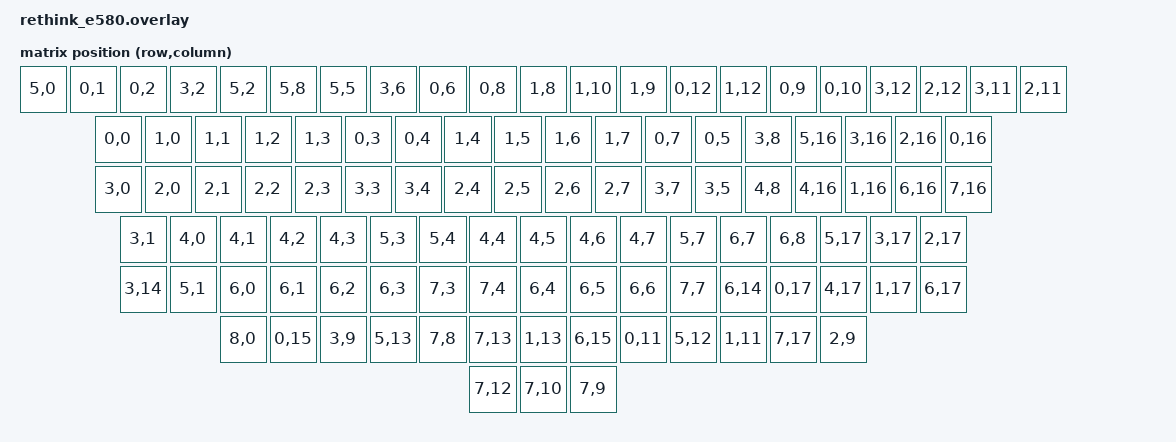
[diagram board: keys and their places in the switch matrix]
/*
 * Copyright (c) 2026 Ziemniaczenka
 * SPDX-License-Identifier: MIT
 *
 * ThinkPad E580 keyboard with numpad on FFC2: the 40-pin matrix cable and
 * the 12-pin cable (TrackPoint, backlight), US ANSI or ISO. Mapped with
 * scripts/matrix_scan.py on a US ANSI keyboard (105 keys): the main block
 * is at the T420's positions (rethink_t420), the numpad on DRV16/17 and on
 * SENSE2/3 x DRV9/11/12. The ISO keyboard's # (RC(6,7)) and \ right of
 * LShift (RC(5,1)) are the T420 ISO's, unscanned. 107 positions; the
 * comments name the keys by their UK ISO legends.
 *
 * The Caps Lock and Num Lock LEDs follow the host; the Fn lock, mute and mic
 * mute LEDs rest on their pull-ups. No backlight yet: BUCK1 stays off. The
 * TrackPoint is TP2 as on rethink_t480 (3.3 V), a mouse; its buttons come
 * over the matrix cable (pins 33-35) to the stick.
 */

#include <dt-bindings/zmk/matrix_transform.h>

#include "../rethink_common/rethink_cb.dtsi"
#include "../rethink_common/rethink_adapter.dtsi"
#include "../rethink_common/rethink_adapter_matrix.dtsi"
#include "../rethink_common/rethink_trackpoint.dtsi"

&rethink_adapter {
    capslock-led-gpios = <&rethink_expander RETHINK_EXP_LEDCPSLOCK 0>;
    numlock-led-gpios = <&rethink_expander RETHINK_EXP_LEDNUMLOCK 0>;
};

// The FFC2 stick: TP2, its reset on the expander's P1_1 (R22 pull-up), its
// supply per CONFIG_RETHINK_TP2_SUPPLY_* (3.3 V by default)
&trackpoint {
    tp2;
    reset-gpios = <&rethink_expander RETHINK_EXP_TP2_RST 0>;
};

/ {
    chosen {
        zmk,physical-layout = &rethink_e580_layout;
    };

    rethink_e580_layout: rethink_e580_layout {
        compatible = "zmk,physical-layout";
        display-name = "E580 ANSI/ISO";
        transform = <&rethink_e580_transform>;
    };

    // Keys left to right, row by row; RC(r,c) = SENSEr x DRVc, row 8 = HOTKEY
    // (0)
    rethink_e580_transform: rethink_e580_transform {
        compatible = "zmk,matrix-transform";
        rows = <9>;
        columns = <18>;
        map = <
            // Esc      F1       F2       F3       F4       F5       F6       F7       F8       F9       F10      F11       F12      Home      End       Insert   Delete    KP =      KP (      KP )      KP Bksp
               RC(5,0)  RC(0,1)  RC(0,2)  RC(3,2)  RC(5,2)  RC(5,8)  RC(5,5)  RC(3,6)  RC(0,6)  RC(0,8)  RC(1,8)  RC(1,10)  RC(1,9)  RC(0,12)  RC(1,12)  RC(0,9)  RC(0,10)  RC(3,12)  RC(2,12)  RC(3,11)  RC(2,11)
            // `        1        2        3        4        5        6        7        8        9        0        -        =        Bksp     NmLk      KP /      KP *      KP -
               RC(0,0)  RC(1,0)  RC(1,1)  RC(1,2)  RC(1,3)  RC(0,3)  RC(0,4)  RC(1,4)  RC(1,5)  RC(1,6)  RC(1,7)  RC(0,7)  RC(0,5)  RC(3,8)  RC(5,16)  RC(3,16)  RC(2,16)  RC(0,16)
            // Tab      Q        W        E        R        T        Y        U        I        O        P        [        ]        \ ANSI   KP 7      KP 8      KP 9      KP +
               RC(3,0)  RC(2,0)  RC(2,1)  RC(2,2)  RC(2,3)  RC(3,3)  RC(3,4)  RC(2,4)  RC(2,5)  RC(2,6)  RC(2,7)  RC(3,7)  RC(3,5)  RC(4,8)  RC(4,16)  RC(1,16)  RC(6,16)  RC(7,16)
            // Caps     A        S        D        F        G        H        J        K        L        ;        '        # ISO    Enter    KP 4      KP 5      KP 6
               RC(3,1)  RC(4,0)  RC(4,1)  RC(4,2)  RC(4,3)  RC(5,3)  RC(5,4)  RC(4,4)  RC(4,5)  RC(4,6)  RC(4,7)  RC(5,7)  RC(6,7)  RC(6,8)  RC(5,17)  RC(3,17)  RC(2,17)
            // LShift    \ ISO    Z        X        C        V        B        N        M        ,        .        /        RShift    KP 1      KP 2      KP 3      KP Enter
               RC(3,14)  RC(5,1)  RC(6,0)  RC(6,1)  RC(6,2)  RC(6,3)  RC(7,3)  RC(7,4)  RC(6,4)  RC(6,5)  RC(6,6)  RC(7,7)  RC(6,14)  RC(0,17)  RC(4,17)  RC(1,17)  RC(6,17)
            // Fn       LCtrl     Win      LAlt      Space    AltGr     PrtSc     RCtrl     PgUp      Up        PgDn      KP 0      KP .
               RC(8,0)  RC(0,15)  RC(3,9)  RC(5,13)  RC(7,8)  RC(7,13)  RC(1,13)  RC(6,15)  RC(0,11)  RC(5,12)  RC(1,11)  RC(7,17)  RC(2,9)
            // Left      Down      Right
               RC(7,12)  RC(7,10)  RC(7,9)
        >;
    };
};
